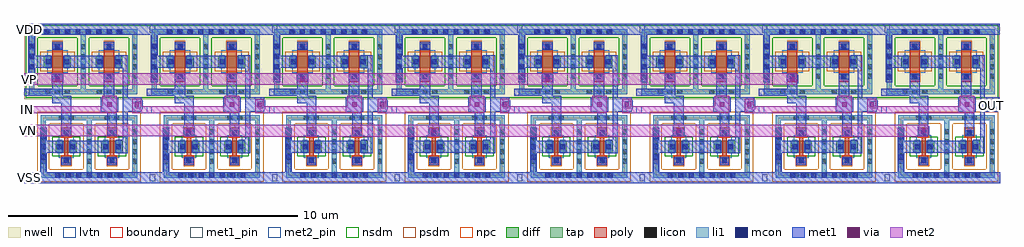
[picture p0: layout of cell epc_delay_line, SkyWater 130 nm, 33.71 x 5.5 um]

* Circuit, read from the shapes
.subckt epc_delay_line IN OUT VDD VN VP VSS
XM1 n1 VP VSS VSS sky130_fd_pr__nfet_01v8_lvt w=0.42 l=0.15
XM2 epc_delay_6/IN IN n1 VSS sky130_fd_pr__nfet_01v8_lvt w=0.42 l=0.15
XM3 n2 VN VSS VSS sky130_fd_pr__nfet_01v8_lvt w=0.42 l=0.15
XM4 epc_delay_5/IN epc_delay_6/IN n2 VSS sky130_fd_pr__nfet_01v8_lvt w=0.42 l=0.15
XM5 n3 VP VSS VSS sky130_fd_pr__nfet_01v8_lvt w=0.42 l=0.15
XM6 epc_delay_4/IN epc_delay_5/IN n3 VSS sky130_fd_pr__nfet_01v8_lvt w=0.42 l=0.15
XM7 n4 VN VSS VSS sky130_fd_pr__nfet_01v8_lvt w=0.42 l=0.15
XM8 epc_delay_3/IN epc_delay_4/IN n4 VSS sky130_fd_pr__nfet_01v8_lvt w=0.42 l=0.15
XM9 n5 VP VSS VSS sky130_fd_pr__nfet_01v8_lvt w=0.42 l=0.15
XM10 epc_delay_2/IN epc_delay_3/IN n5 VSS sky130_fd_pr__nfet_01v8_lvt w=0.42 l=0.15
XM11 n6 VN VSS VSS sky130_fd_pr__nfet_01v8_lvt w=0.42 l=0.15
XM12 epc_delay_1/IN epc_delay_2/IN n6 VSS sky130_fd_pr__nfet_01v8_lvt w=0.42 l=0.15
XM13 n7 VP VSS VSS sky130_fd_pr__nfet_01v8_lvt w=0.42 l=0.15
XM14 epc_delay_0/IN epc_delay_1/IN n7 VSS sky130_fd_pr__nfet_01v8_lvt w=0.42 l=0.15
XM15 n8 VN VSS VSS sky130_fd_pr__nfet_01v8_lvt w=0.42 l=0.15
XM16 OUT epc_delay_0/IN n8 VSS sky130_fd_pr__nfet_01v8_lvt w=0.42 l=0.15
XM17 n9 VP VDD VDD sky130_fd_pr__pfet_01v8_lvt w=0.42 l=0.35
XM18 epc_delay_6/IN IN n9 VDD sky130_fd_pr__pfet_01v8_lvt w=0.42 l=0.35
XM19 n10 VN VDD VDD sky130_fd_pr__pfet_01v8_lvt w=0.42 l=0.35
XM20 epc_delay_5/IN epc_delay_6/IN n10 VDD sky130_fd_pr__pfet_01v8_lvt w=0.42 l=0.35
XM21 n11 VP VDD VDD sky130_fd_pr__pfet_01v8_lvt w=0.42 l=0.35
XM22 epc_delay_4/IN epc_delay_5/IN n11 VDD sky130_fd_pr__pfet_01v8_lvt w=0.42 l=0.35
XM23 n12 VN VDD VDD sky130_fd_pr__pfet_01v8_lvt w=0.42 l=0.35
XM24 epc_delay_3/IN epc_delay_4/IN n12 VDD sky130_fd_pr__pfet_01v8_lvt w=0.42 l=0.35
XM25 n13 VP VDD VDD sky130_fd_pr__pfet_01v8_lvt w=0.42 l=0.35
XM26 epc_delay_2/IN epc_delay_3/IN n13 VDD sky130_fd_pr__pfet_01v8_lvt w=0.42 l=0.35
XM27 n14 VN VDD VDD sky130_fd_pr__pfet_01v8_lvt w=0.42 l=0.35
XM28 epc_delay_1/IN epc_delay_2/IN n14 VDD sky130_fd_pr__pfet_01v8_lvt w=0.42 l=0.35
XM29 n15 VP VDD VDD sky130_fd_pr__pfet_01v8_lvt w=0.42 l=0.35
XM30 epc_delay_0/IN epc_delay_1/IN n15 VDD sky130_fd_pr__pfet_01v8_lvt w=0.42 l=0.35
XM31 n16 VN VDD VDD sky130_fd_pr__pfet_01v8_lvt w=0.42 l=0.35
XM32 OUT epc_delay_0/IN n16 VDD sky130_fd_pr__pfet_01v8_lvt w=0.42 l=0.35
.ends

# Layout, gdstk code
import gdstk
lib = gdstk.Library(unit=1e-6, precision=1e-09)
def R(c, l, rs):  # rectangles x0, y0, x1, y1
    for r in rs: c.add(gdstk.rectangle(r[:2], r[2:], *l))
def A(c, l, x, y, w, h, nx, ny, dx, dy):  # array of equal rectangles
    R(c, l, [(x+i*dx, y+j*dy, x+i*dx+w, y+j*dy+h) for i in range(nx) for j in range(ny)])
nwell = (64, 20)
diff = (65, 20)
tap = (65, 44)
poly = (66, 20)
licon = (66, 44)
li1 = (67, 20)
mcon = (67, 44)
met1_pin = (68, 16)
met1 = (68, 20)
via = (68, 44)
met2_pin = (69, 16)
met2 = (69, 20)
nsdm = (93, 44)
psdm = (94, 20)
npc = (95, 20)
lvtn = (125, 44)
boundary = (235, 4)

sky130_fd_pr__nfet_01v8_ = lib.new_cell('sky130_fd_pr__nfet_01v8_lvt_BK97Z7')
R(sky130_fd_pr__nfet_01v8_, diff, [(-0.365,-0.21,0.365,0.21)])
R(sky130_fd_pr__nfet_01v8_, tap, [(-0.875,-1.08,0.875,-0.91), (-0.875,-0.91,-0.705,0.91), (0.705,-0.91,0.875,0.91), (-0.875,0.91,0.875,1.08)])
R(sky130_fd_pr__nfet_01v8_, poly, [(-0.165,-0.65,0.165,-0.32), (-0.075,-0.32,0.075,0.32), (-0.165,0.32,0.165,0.65)])
A(sky130_fd_pr__nfet_01v8_, licon, -0.875, -0.595, 0.17, 0.17, 1, 4, 0, 0.34)
A(sky130_fd_pr__nfet_01v8_, licon, 0.705, -0.595, 0.17, 0.17, 1, 4, 0, 0.34)
R(sky130_fd_pr__nfet_01v8_, licon, [(-0.255,-1.08,-0.085,-0.91), (0.085,-1.08,0.255,-0.91), (-0.085,-0.57,0.085,-0.4), (-0.305,-0.085,-0.135,0.085), (0.135,-0.085,0.305,0.085), (-0.085,0.4,0.085,0.57), (-0.255,0.91,-0.085,1.08), (0.085,0.91,0.255,1.08)])
R(sky130_fd_pr__nfet_01v8_, li1, [(-0.875,-1.08,0.875,-0.91), (-0.875,-0.91,-0.705,0.91), (0.705,-0.91,0.875,0.91), (-0.165,-0.57,0.165,-0.4), (-0.305,-0.23,-0.135,0.23), (0.135,-0.23,0.305,0.23), (-0.165,0.4,0.165,0.57), (-0.875,0.91,0.875,1.08)])
R(sky130_fd_pr__nfet_01v8_, mcon, [(-0.085,-0.57,0.085,-0.4), (-0.305,-0.085,-0.135,0.085), (0.135,-0.085,0.305,0.085), (-0.085,0.4,0.085,0.57)])
R(sky130_fd_pr__nfet_01v8_, met1, [(-0.145,-0.6,0.145,-0.37), (-0.335,-0.21,-0.105,0.21), (0.105,-0.21,0.335,0.21), (-0.145,0.37,0.145,0.6)])
R(sky130_fd_pr__nfet_01v8_, nsdm, [(-0.49,-0.335,0.49,0.335)])
R(sky130_fd_pr__nfet_01v8_, psdm, [(-1,-1.205,1,-0.785), (-1,-0.785,-0.58,0.785), (0.58,-0.785,1,0.785), (-1,0.785,1,1.205)])
R(sky130_fd_pr__nfet_01v8_, npc, [(-0.185,-0.67,0.185,-0.3), (-0.185,0.3,0.185,0.67)])
R(sky130_fd_pr__nfet_01v8_, lvtn, [(-0.255,-0.39,0.255,0.39)])
R(sky130_fd_pr__nfet_01v8_, boundary, [(-0.79,-0.995,0.79,0.995)])

sky130_fd_pr__pfet_01v8_ = lib.new_cell('sky130_fd_pr__pfet_01v8_lvt_A33RKA')
R(sky130_fd_pr__pfet_01v8_, nwell, [(-1.155,-1.305,1.155,1.305)])
R(sky130_fd_pr__pfet_01v8_, diff, [(-0.465,-0.21,0.465,0.21)])
R(sky130_fd_pr__pfet_01v8_, tap, [(-0.975,-1.125,0.975,-0.955), (-0.975,-0.955,-0.805,0.955), (0.805,-0.955,0.975,0.955), (-0.975,0.955,0.975,1.125)])
R(sky130_fd_pr__pfet_01v8_, poly, [(-0.175,-0.695,0.175,0.695)])
A(sky130_fd_pr__pfet_01v8_, licon, -0.425, -1.125, 0.17, 0.17, 3, 2, 0.34, 2.08)
A(sky130_fd_pr__pfet_01v8_, licon, -0.975, -0.595, 0.17, 0.17, 1, 4, 0, 0.34)
A(sky130_fd_pr__pfet_01v8_, licon, 0.805, -0.595, 0.17, 0.17, 1, 4, 0, 0.34)
R(sky130_fd_pr__pfet_01v8_, licon, [(-0.085,-0.615,0.085,-0.445), (-0.405,-0.085,-0.235,0.085), (0.235,-0.085,0.405,0.085), (-0.085,0.445,0.085,0.615)])
R(sky130_fd_pr__pfet_01v8_, li1, [(-0.975,-1.125,0.975,-0.955), (-0.975,-0.955,-0.805,0.955), (0.805,-0.955,0.975,0.955), (-0.175,-0.615,0.175,-0.445), (-0.405,-0.23,-0.235,0.23), (0.235,-0.23,0.405,0.23), (-0.175,0.445,0.175,0.615), (-0.975,0.955,0.975,1.125)])
R(sky130_fd_pr__pfet_01v8_, mcon, [(-0.085,-0.615,0.085,-0.445), (-0.405,-0.085,-0.235,0.085), (0.235,-0.085,0.405,0.085), (-0.085,0.445,0.085,0.615)])
R(sky130_fd_pr__pfet_01v8_, met1, [(-0.155,-0.645,0.155,-0.415), (-0.435,-0.21,-0.205,0.21), (0.205,-0.21,0.435,0.21), (-0.155,0.415,0.155,0.645)])
R(sky130_fd_pr__pfet_01v8_, nsdm, [(-1.1,-1.25,1.1,-0.83), (-1.1,-0.83,-0.68,0.83), (0.68,-0.83,1.1,0.83), (-1.1,0.83,1.1,1.25)])
R(sky130_fd_pr__pfet_01v8_, psdm, [(-0.59,-0.335,0.59,0.335)])
R(sky130_fd_pr__pfet_01v8_, npc, [(-0.185,-0.715,0.185,-0.345), (-0.185,0.345,0.185,0.715)])
R(sky130_fd_pr__pfet_01v8_, lvtn, [(-0.355,-0.39,0.355,0.39)])
R(sky130_fd_pr__pfet_01v8_, boundary, [(-0.89,-1.04,0.89,1.04)])

epc_delay = lib.new_cell('epc_delay')
R(epc_delay, li1, [(0.8,-2.68,3.17,-2.51), (0.32,-2.2,0.49,-1), (0.89,-1.75,1.06,-1.45), (1.33,-1.75,1.5,-1.45), (2.47,-1.75,2.64,-1.45), (2.91,-1.75,3.08,-1.45), (-0.085,0.69,0.085,1.98), (0.485,1.185,0.655,1.485), (1.125,1.185,1.295,1.485), (2.265,1.185,2.435,1.485), (2.905,1.185,3.075,1.485), (0.395,2.29,3.165,2.46)])
A(epc_delay, mcon, 0.82, -2.68, 0.17, 0.17, 7, 1, 0.36, 0)
A(epc_delay, mcon, 0.32, -2.045, 0.17, 0.17, 1, 3, 0, 0.36)
A(epc_delay, mcon, -0.085, 0.71, 0.17, 0.17, 1, 4, 0, 0.36)
A(epc_delay, mcon, 0.435, 2.29, 0.17, 0.17, 8, 1, 0.36, 0)
R(epc_delay, mcon, [(0.89,-1.685,1.06,-1.515), (1.33,-1.685,1.5,-1.515), (2.47,-1.685,2.64,-1.515), (2.91,-1.685,3.08,-1.515), (0.485,1.25,0.655,1.42), (1.125,1.25,1.295,1.42), (2.265,1.25,2.435,1.42), (2.905,1.25,3.075,1.42)])
R(epc_delay, met1_pin, [(-0.155,-2.795,0.025,-2.545), (3.585,-0.28,3.765,-0.03), (-0.265,0.15,-0.085,0.4), (-0.155,2.34,0.025,2.59)])
R(epc_delay, met1, [(-0.26,-2.86,3.83,-2.48), (0.29,-2.48,0.52,-1.81), (1.03,-2.25,1.36,-1.97), (2.61,-2.25,2.94,-1.97), (2.91,-1.83,3.31,-1.81), (0.29,-1.81,1.09,-1.39), (1.3,-1.81,2.67,-1.39), (2.88,-1.81,3.31,-1.39), (0.29,-1.39,0.52,-0.94), (2.91,-1.39,3.31,-1.37), (3.14,-1.37,3.31,-0.4), (1.03,-1.23,1.36,-0.1), (2.61,-1.23,2.94,-0.4), (2.385,-0.4,2.985,0.1), (3.14,-0.4,3.805,0.1), (0.715,-0.1,1.36,0.15), (2.495,0.1,2.845,0.92), (3.14,0.1,3.31,1.105), (-0.265,0.15,1.065,0.4), (0.715,0.4,1.065,0.92), (-0.115,0.63,0.115,1.125), (2.905,1.105,3.31,1.125), (-0.115,1.125,0.685,1.545), (1.095,1.125,2.465,1.545), (2.875,1.125,3.31,1.545), (-0.115,1.545,0.115,2.26), (2.905,1.545,3.31,1.565), (0.715,1.75,1.065,2.03), (2.495,1.75,2.845,2.03), (-0.265,2.26,3.825,2.64)])
R(epc_delay, via, [(2.61,-0.225,2.76,-0.075)])
R(epc_delay, met2_pin, [(-0.265,-0.45,-0.085,-0.2)])
R(epc_delay, met2, [(-0.265,-0.45,2.935,-0.2), (2.435,-0.2,2.935,0.15)])
epc_delay.add(gdstk.Reference(sky130_fd_pr__nfet_01v8_, (1.195,-1.6)))
epc_delay.add(gdstk.Reference(sky130_fd_pr__nfet_01v8_, (2.775,-1.6)))
epc_delay.add(gdstk.Reference(sky130_fd_pr__pfet_01v8_, (2.67,1.335)))
epc_delay.add(gdstk.Reference(sky130_fd_pr__pfet_01v8_, (0.89,1.335)))
epc_delay.add(gdstk.Label('VDD', (-0.065,2.465), layer=68, texttype=5))
epc_delay.add(gdstk.Label('VSS', (-0.065,-2.67), layer=68, texttype=5))
epc_delay.add(gdstk.Label('VIN', (-0.175,0.275), layer=68, texttype=5))
epc_delay.add(gdstk.Label('IN', (-0.175,-0.325), layer=69, texttype=5))
epc_delay.add(gdstk.Label('OUT', (3.675,-0.155), layer=68, texttype=5))

epc_delay_line = lib.new_cell('epc_delay_line')
R(epc_delay_line, nwell, [(0.265,3.95,33.97,6.56)])
R(epc_delay_line, met1_pin, [(0.41,1.205,0.48,1.285), (33.655,3.72,33.735,3.79), (0.45,6.365,0.49,6.4)])
A(epc_delay_line, met1, 5.76, 2.72, 0.4, 0.3, 4, 1, 8.46, 0)
A(epc_delay_line, met1, 20.885, 3.62, 0.4, 0.3, 3, 1, 4.23, 0)
A(epc_delay_line, met1, 9.685, 4.51, 0.4, 0.3, 3, 1, 8.46, 0)
R(epc_delay_line, met1, [(0.27,1.06,33.975,1.44), (33.455,3.52,33.95,4.02), (8.195,3.615,8.595,3.915), (3.96,3.62,4.36,3.92), (12.43,3.62,12.83,3.92), (16.66,3.62,17.06,3.92), (1.22,4.51,1.62,4.81), (0.265,6.18,33.97,6.56)])
A(epc_delay_line, via, 5.885, 2.795, 0.15, 0.15, 4, 1, 8.46, 0)
A(epc_delay_line, via, 21.01, 3.695, 0.15, 0.15, 3, 1, 4.23, 0)
A(epc_delay_line, via, 9.81, 4.585, 0.15, 0.15, 3, 1, 8.46, 0)
R(epc_delay_line, via, [(8.32,3.69,8.47,3.84), (4.085,3.695,4.235,3.845), (12.555,3.695,12.705,3.845), (16.785,3.695,16.935,3.845), (1.345,4.585,1.495,4.735)])
R(epc_delay_line, met2_pin, [(0.39,2.85,0.44,2.9), (0.375,3.57,0.425,3.62), (0.42,4.63,0.46,4.665)])
A(epc_delay_line, met2, 20.935, 3.47, 0.78, 0.25, 3, 1, 4.23, 0)
A(epc_delay_line, met2, 20.935, 3.72, 0.3, 0.25, 3, 1, 4.23, 0)
R(epc_delay_line, met2, [(5.81,2.67,31.49,2.675), (0.27,2.675,31.49,3.07), (0.265,3.47,0.555,3.72), (4.01,3.47,4.82,3.72), (8.245,3.47,9.01,3.72), (12.48,3.47,13.26,3.72), (16.71,3.47,17.49,3.72), (4.01,3.72,4.31,3.97), (8.245,3.72,8.545,3.965), (12.48,3.72,12.78,3.97), (16.71,3.72,17.01,3.97), (0.265,4.46,26.955,4.86)])
A(epc_delay_line, nsdm, 8.535, 4.005, 0.25, 2.5, 6, 1, 4.23, 0)
R(epc_delay_line, nsdm, [(4.3,4.005,4.555,6.505)])
epc_delay_line.add(gdstk.Reference(epc_delay, (30.145,3.92)))
epc_delay_line.add(gdstk.Reference(epc_delay, (25.915,3.92)))
epc_delay_line.add(gdstk.Reference(epc_delay, (21.685,3.92)))
epc_delay_line.add(gdstk.Reference(epc_delay, (17.455,3.92)))
epc_delay_line.add(gdstk.Reference(epc_delay, (13.225,3.92)))
epc_delay_line.add(gdstk.Reference(epc_delay, (8.995,3.92)))
epc_delay_line.add(gdstk.Reference(epc_delay, (4.765,3.92)))
epc_delay_line.add(gdstk.Reference(epc_delay, (0.53,3.92)))
epc_delay_line.add(gdstk.Label('VDD', (0.47,6.382), layer=68, texttype=5))
epc_delay_line.add(gdstk.Label('VP', (0.44,4.647), layer=69, texttype=5))
epc_delay_line.add(gdstk.Label('IN', (0.4,3.595), layer=69, texttype=5))
epc_delay_line.add(gdstk.Label('VN', (0.415,2.875), layer=69, texttype=5))
epc_delay_line.add(gdstk.Label('VSS', (0.445,1.245), layer=68, texttype=5))
epc_delay_line.add(gdstk.Label('OUT', (33.695,3.755), layer=68, texttype=5))

lib.write_gds('epc_delay_line.gds')
